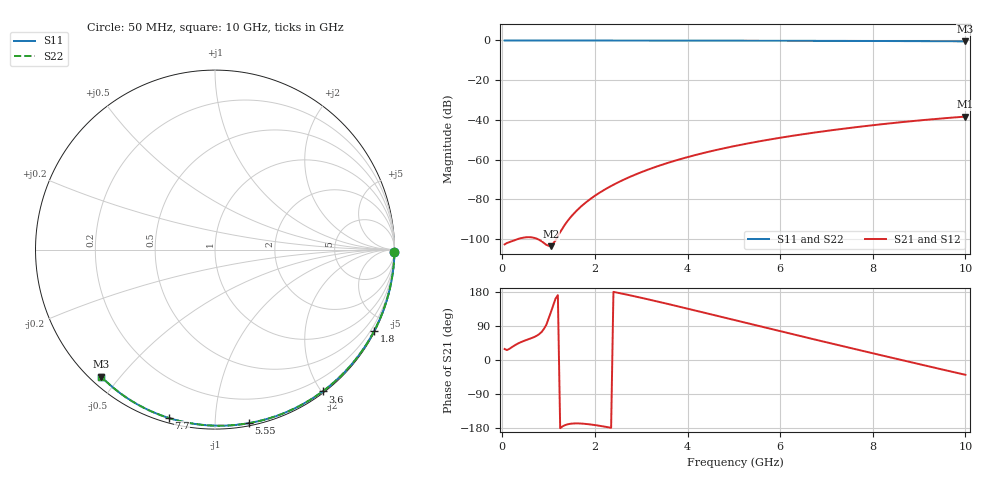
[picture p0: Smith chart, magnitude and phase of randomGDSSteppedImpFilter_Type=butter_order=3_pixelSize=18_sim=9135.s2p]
! freq	dB(S11)	phase(S11)	dB(S12)	phase(S12)
!  dB(S21)	phase(S21)	dB(S22)	phase(S22)
!S-par simulation data
#  GHz  S  DB  R 50
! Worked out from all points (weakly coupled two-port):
!   200 points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, 50 MHz to 10 GHz, reference 50 ohm
!   highest |S21| = -38.35 dB at 10 GHz (marker M1); lowest = -103.6 dB at 1.05 GHz (marker M2)
!   lowest |S11| = -0.4 dB at 10 GHz (marker M3), VSWR 39.09, Z = 1.53 - j22.3 ohm
!   |S11| at or under -10 dB: nowhere
!   |S22| runs from -0.4 to 0.0 dB; largest |S21 - S12| = 0
!   S11 on the Smith chart (normalised r, x): 50 MHz: open; 1.8 GHz: 0.04, -4.16; 3.6 GHz: 0.02, -2.01; 5.55 GHz: 0.02, -1.21; 7.7 GHz: 0.02, -0.76; 10 GHz: 0.03, -0.45
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0.05  -0.00 -0.8  -102.71 29.0  -102.71 29.0  -0.00 -0.8
0.55  -0.01 -8.4  -99.07 54.1  -99.07 54.1  -0.01 -8.4
1.05  -0.02 -15.9  -103.60 126.5  -103.60 126.5  -0.02 -15.9
1.75  -0.03 -26.3  -82.63 -168.1  -82.63 -168.1  -0.03 -26.3
1.8  -0.03 -27.0  -81.66 -168.6  -81.66 -168.6  -0.03 -27.0
1.9  -0.04 -28.5  -79.87 -170.0  -79.87 -170.0  -0.04 -28.5
2.05  -0.04 -30.7  -77.44 -172.6  -77.44 -172.6  -0.04 -30.7
2.25  -0.04 -33.6  -74.58 -176.8  -74.58 -176.8  -0.04 -33.6
2.45  -0.05 -36.5  -72.06 178.6  -72.06 178.6  -0.05 -36.5
2.65  -0.05 -39.4  -69.81 173.6  -69.81 173.6  -0.05 -39.4
3  -0.06 -44.4  -66.35 164.2  -66.35 164.2  -0.06 -44.4
3.4  -0.07 -50.0  -62.97 153.0  -62.97 153.0  -0.07 -50.0
3.6  -0.07 -52.8  -61.47 147.2  -61.47 147.2  -0.07 -52.8
4.3  -0.09 -62.4  -56.93 126.6  -56.93 126.6  -0.09 -62.4
5.05  -0.11 -72.4  -53.02 104.2  -53.02 104.2  -0.11 -72.4
5.55  -0.13 -78.9  -50.79 89.3  -50.79 89.3  -0.13 -78.9
6.1  -0.15 -85.9  -48.63 73.1  -48.63 73.1  -0.15 -85.9
6.7  -0.18 -93.3  -46.52 55.4  -46.52 55.4  -0.18 -93.3
7.7  -0.24 -105.4  -43.50 26.4  -43.50 26.4  -0.24 -105.4
8.35  -0.29 -113.0  -41.80 7.7  -41.80 7.7  -0.29 -113.0
9.15  -0.36 -122.2  -39.97 -15.1  -39.97 -15.1  -0.36 -122.2
10  -0.44 -131.8  -38.35 -39.1  -38.35 -39.1  -0.44 -131.8
